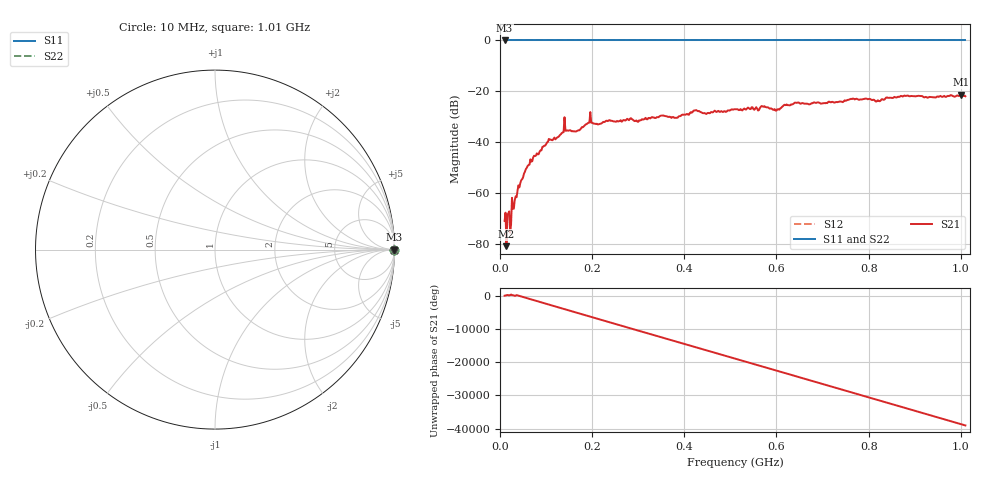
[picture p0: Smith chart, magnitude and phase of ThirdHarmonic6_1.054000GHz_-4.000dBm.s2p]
! 8/16/2025 9:20:54 AM
! C:\ANRITSUVNA\TEMP\TEMP.S2P
! CHANNEL.1
! TR.MEASUREMENT
! RAW.DATA
! RF.CORRECTION.OFF
! AVERAGING.OFF
! IF.BANDWIDTH: 5KHZ
! SWEEPTYPE:  FREQ.SWEEP(Linear)
! Reference Plane Port Info
! PORT:  PORT1  PORT2
! DISTANCE:  0  m  0  m
! TIME:  0  s  0  s
! PHASE.OFFSET:  0  deg.  0  deg.
! LOSS:  0  dB  0  dB
! REF.LOSS:  0  dB  0  dB
! REF.FREQ:  0  Hz  0  Hz
! Power Info
! POWER:  -20  dBm  -20  dBm
! EFF.POWER:  -20  dBm  -20  dBm
! SOURCE.ATTEN:  0  dB  0  dB
! TEST.ATTEN:  0  dB  0  dB
# GHZ S RI R 50.0
! FREQ.GHZ  S11RE  S11IM  S21RE  S21IM  S12RE  S12IM  S22RE  S22IM
!; PortSelection: Port_12
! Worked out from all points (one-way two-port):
!   501 points, 10 MHz to 1.01 GHz, reference 50 ohm
!   highest |S21| = -21.32 dB at 1 GHz (marker M1); lowest = -81.0 dB at 14 MHz (marker M2)
!   lowest |S11| = 0.0 dB at 10 MHz (marker M3)
!   |S11| at or under -10 dB: nowhere
!   |S22| runs from 0.0 to 0.0 dB; largest |S21 - S12| = 1.1
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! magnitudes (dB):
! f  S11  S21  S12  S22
! 10 MHz  0.0  -71.0  0.0  0.0
! 14 MHz  0.0  -81.0  0.0  0.0
! 16 MHz  0.0  -68.8  0.0  0.0
! 18 MHz  0.0  -68.1  0.0  0.0
! 26 MHz  0.0  -61.9  0.0  0.0
! 30 MHz  0.0  -66.2  0.0  0.0
! 42 MHz  0.0  -57.9  0.0  0.0
! 70 MHz  0.0  -47.5  0.0  0.0
! 138 MHz  0.0  -36.1  0.0  0.0
! 164 MHz  0.0  -35.8  0.0  0.0
! 178 MHz  0.0  -34.1  0.0  0.0
! 196 MHz  0.0  -28.2  0.0  0.0
! 212 MHz  0.0  -33.0  0.0  0.0
! 344 MHz  0.0  -30.2  0.0  0.0
! 510 MHz  0.0  -27.1  0.0  0.0
! 570 MHz  0.0  -26.0  0.0  0.0
! 602 MHz  0.0  -27.1  0.0  0.0
! 642 MHz  0.0  -24.5  0.0  0.0
! 678 MHz  0.0  -24.7  0.0  0.0
! 844 MHz  0.0  -22.6  0.0  0.0
! 1 GHz  0.0  -21.3  0.0  0.0
! 1.01 GHz  0.0  -22.0  0.0  0.0
